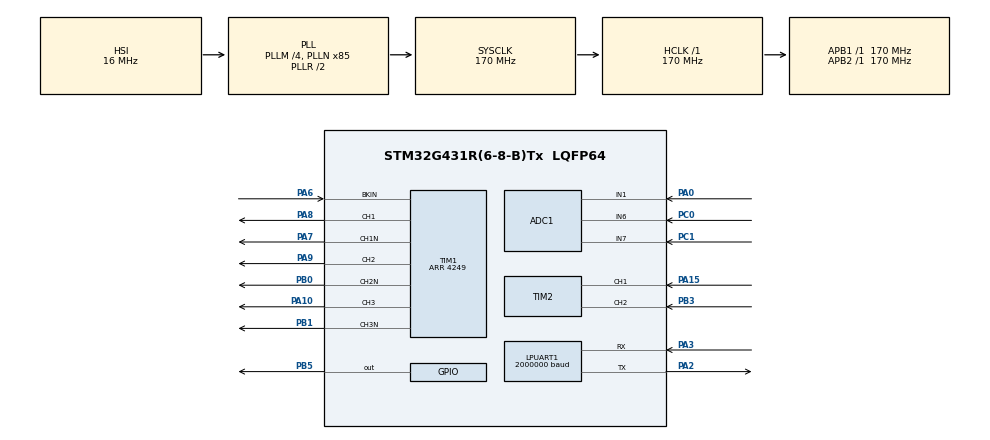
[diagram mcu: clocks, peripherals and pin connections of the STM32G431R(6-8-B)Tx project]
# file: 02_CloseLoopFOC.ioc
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ADC1.Channel-1\#ChannelRegularConversion=ADC_CHANNEL_1
ADC1.Channel-4\#ChannelRegularConversion=ADC_CHANNEL_7
ADC1.Channel-5\#ChannelRegularConversion=ADC_CHANNEL_6
ADC1.EnableInjectedConversion=ENABLE
ADC1.ExternalTrigInjecConv=ADC_EXTERNALTRIGINJEC_T1_TRGO2
ADC1.InjNumberOfConversion=2
ADC1.InjectedChannel-6\#ChannelInjectedConversion=ADC_CHANNEL_1
ADC1.InjectedChannel-7\#ChannelInjectedConversion=ADC_CHANNEL_6
ADC1.InjectedOffsetNumber-6\#ChannelInjectedConversion=ADC_OFFSET_NONE
ADC1.InjectedOffsetNumber-7\#ChannelInjectedConversion=ADC_OFFSET_NONE
ADC1.InjectedRank-6\#ChannelInjectedConversion=1
ADC1.InjectedRank-7\#ChannelInjectedConversion=2
ADC1.InjectedSamplingTime-6\#ChannelInjectedConversion=ADC_SAMPLETIME_47CYCLES_5
ADC1.InjectedSamplingTime-7\#ChannelInjectedConversion=ADC_SAMPLETIME_47CYCLES_5
ADC1.LowPowerAutoWait=ENABLE
ADC1.NbrOfConversion=3
ADC1.NbrOfConversionFlag=1
ADC1.OffsetNumber-1\#ChannelRegularConversion=ADC_OFFSET_NONE
ADC1.OffsetNumber-4\#ChannelRegularConversion=ADC_OFFSET_NONE
ADC1.OffsetNumber-5\#ChannelRegularConversion=ADC_OFFSET_NONE
ADC1.Rank-1\#ChannelRegularConversion=1
ADC1.Rank-4\#ChannelRegularConversion=2
ADC1.Rank-5\#ChannelRegularConversion=3
ADC1.Rank1_Channel=ADC_CHANNEL_1
ADC1.Rank2_Channel=ADC_CHANNEL_6
ADC1.Rank3_Channel=ADC_CHANNEL_6
ADC1.SamplingTime-1\#ChannelRegularConversion=ADC_SAMPLETIME_47CYCLES_5
ADC1.SamplingTime-4\#ChannelRegularConversion=ADC_SAMPLETIME_47CYCLES_5
ADC1.SamplingTime-5\#ChannelRegularConversion=ADC_SAMPLETIME_47CYCLES_5
ADC1.master=1
Dma.LPUART1_TX.0.Direction=DMA_MEMORY_TO_PERIPH
Dma.LPUART1_TX.0.EventEnable=DISABLE
Dma.LPUART1_TX.0.Instance=DMA1_Channel1
Dma.LPUART1_TX.0.MemDataAlignment=DMA_MDATAALIGN_BYTE
Dma.LPUART1_TX.0.MemInc=DMA_MINC_ENABLE
Dma.LPUART1_TX.0.Mode=DMA_NORMAL
Dma.LPUART1_TX.0.PeriphDataAlignment=DMA_PDATAALIGN_BYTE
Dma.LPUART1_TX.0.PeriphInc=DMA_PINC_DISABLE
Dma.LPUART1_TX.0.Polarity=HAL_DMAMUX_REQ_GEN_RISING
Dma.LPUART1_TX.0.Priority=DMA_PRIORITY_LOW
Dma.LPUART1_TX.0.RequestNumber=1
Dma.LPUART1_TX.0.SignalID=NONE
Dma.LPUART1_TX.0.SyncEnable=DISABLE
Dma.LPUART1_TX.0.SyncPolarity=HAL_DMAMUX_SYNC_NO_EVENT
Dma.LPUART1_TX.0.SyncRequestNumber=1
Dma.LPUART1_TX.0.SyncSignalID=NONE
Dma.Request0=LPUART1_TX
LPUART1.BaudRate=2000000
Mcu.Family=STM32G4
Mcu.Name=STM32G431R(6-8-B)Tx
Mcu.Package=LQFP64
NVIC.ADC1_2_IRQn=true\:0\:0\:false\:false\:true\:true\:true\:true
NVIC.DMA1_Channel1_IRQn=true\:0\:0\:false\:false\:true\:false\:true\:true
NVIC.LPUART1_IRQn=true\:0\:0\:false\:false\:true\:true\:true\:true
NVIC.PriorityGroup=NVIC_PRIORITYGROUP_4
NVIC.TIM1_UP_TIM16_IRQn=true\:0\:0\:false\:false\:true\:true\:true\:true
PA0.Mode=IN1-Single-Ended
PA0.Signal=ADC1_IN1
PA10.Signal=S_TIM1_CH3
PA15.Signal=S_TIM2_CH1
PA2.Mode=Asynchronous
PA2.Signal=LPUART1_TX
PA3.Mode=Asynchronous
PA3.Signal=LPUART1_RX
PA6.Mode=Activate-Break-Input
PA6.Signal=TIM1_BKIN
PA7.Mode=PWM Generation1 CH1 CH1N
PA7.Signal=TIM1_CH1N
PA8.Signal=S_TIM1_CH1
PA9.Signal=S_TIM1_CH2
PB0.Mode=PWM Generation2 CH2 CH2N
PB0.Signal=TIM1_CH2N
PB1.Mode=PWM Generation3 CH3 CH3N
PB1.Signal=TIM1_CH3N
PB10.Signal=S_TIM2_CH3
PB3.Signal=S_TIM2_CH2
PB5.Signal=GPIO_Output
PC0.Mode=IN6-Single-Ended
PC0.Signal=ADC1_IN6
PC1.Mode=IN7-Single-Ended
PC1.Signal=ADC1_IN7
ProjectManager.HeapSize=0x200
ProjectManager.StackSize=0x400
ProjectManager.TargetToolchain=STM32CubeIDE
RCC.ADC12Freq_Value=170000000
RCC.AHBFreq_Value=170000000
RCC.APB1Freq_Value=170000000
RCC.APB1TimFreq_Value=170000000
RCC.APB2Freq_Value=170000000
RCC.APB2TimFreq_Value=170000000
RCC.CortexFreq_Value=170000000
RCC.EXTERNAL_CLOCK_VALUE=12288000
RCC.HCLKFreq_Value=170000000
RCC.HSE_VALUE=8000000
RCC.HSI48_VALUE=48000000
RCC.HSI_VALUE=16000000
RCC.LSE_VALUE=32768
RCC.PLLM=RCC_PLLM_DIV4
RCC.PLLN=85
RCC.SYSCLKFreq_VALUE=170000000
RCC.SYSCLKSource=RCC_SYSCLKSOURCE_PLLCLK
RCC.USBFreq_Value=170000000
RCC.VCOOutputFreq_Value=340000000
SH.S_TIM1_CH1.0=TIM1_CH1,PWM Generation1 CH1 CH1N
SH.S_TIM1_CH2.0=TIM1_CH2,PWM Generation2 CH2 CH2N
SH.S_TIM1_CH3.0=TIM1_CH3,PWM Generation3 CH3 CH3N
SH.S_TIM2_CH1.0=TIM2_CH1,Encoder_Interface
SH.S_TIM2_CH2.0=TIM2_CH2,Encoder_Interface
SH.S_TIM2_CH3.0=TIM2_CH3
TIM1.BreakPolarity=TIM_BREAKPOLARITY_LOW
TIM1.Channel-PWM\ Generation1\ CH1\ CH1N=TIM_CHANNEL_1
TIM1.Channel-PWM\ Generation2\ CH2\ CH2N=TIM_CHANNEL_2
TIM1.Channel-PWM\ Generation3\ CH3\ CH3N=TIM_CHANNEL_3
TIM1.Channel-PWM\ Generation4\ No\ Output=TIM_CHANNEL_4
TIM1.CounterMode=TIM_COUNTERMODE_CENTERALIGNED1
TIM1.DeadTime=149
TIM1.OCMode_PWM-PWM\ Generation4\ No\ Output=TIM_OCMODE_PWM2
TIM1.OCNIdleState_1=TIM_OCNIDLESTATE_SET
TIM1.OCNIdleState_2=TIM_OCNIDLESTATE_SET
TIM1.OCNIdleState_3=TIM_OCNIDLESTATE_SET
TIM1.OCNPolarity_1=TIM_OCNPOLARITY_LOW
TIM1.OCNPolarity_2=TIM_OCNPOLARITY_LOW
TIM1.OCNPolarity_3=TIM_OCNPOLARITY_LOW
TIM1.OffStateIDLEMode=TIM_OSSI_ENABLE
TIM1.PeriodNoDither=4249
TIM1.PulseNoDither_1=2125
TIM1.PulseNoDither_2=2125
TIM1.PulseNoDither_3=2125
TIM1.PulseNoDither_4=2125
TIM1.RepetitionCounter=1
TIM1.TIM_MasterOutputTrigger2=TIM_TRGO2_OC4REF
TIM2.EncoderMode=TIM_ENCODERMODE_TI12
VP_SYS_VS_DBSignals.Mode=DisableDeadBatterySignals
VP_TIM1_VS_ClockSourceINT.Mode=Internal
VP_TIM1_VS_no_output4.Mode=PWM Generation4 No Output
board=custom

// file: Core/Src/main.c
/* USER CODE BEGIN Header */
/**
  ******************************************************************************
  * @file           : main.c
  * @brief          : Main program body
  ******************************************************************************
  * @attention
  *
  * Copyright (c) 2026 STMicroelectronics.
  * All rights reserved.
  *
  * This software is licensed under terms that can be found in the LICENSE file
  * in the root directory of this software component.
  * If no LICENSE file comes with this software, it is provided AS-IS.
  *
  ******************************************************************************
  */
/* USER CODE END Header */
#include "main.h"

/* USER CODE BEGIN Includes */

#include <math.h>
#include "vofa.h"

/* USER CODE END Includes */

ADC_HandleTypeDef hadc1;

UART_HandleTypeDef hlpuart1;
DMA_HandleTypeDef hdma_lpuart1_tx;

TIM_HandleTypeDef htim1;
TIM_HandleTypeDef htim2;

/* USER CODE BEGIN PV */

int cnt = 0;
// 开环控制
float theta_e = 0.0f;

const float PI = 3.14159265358979323846f;
const float Ts = 50e-6f;
const float fe = 5.0f;      // 电角频率 5 Hz
float Uq = 0.0f;      // 很小的电压矢量幅值
float Ud = 2.0f;
const float Vbus = 13.0f;

#define ENCODER_CPR 10000
#define MOTOR_POLE_PAIRS 5	// 极对数

// 编码器读取
volatile int32_t encoder_position = 0;	// 编码位置
volatile float theta_mech_deg = 0.0f;	// 机械角度
volatile float theta_mech_rad = 0.0f;	// 机械角度

volatile float theta_elec_rad = 0.0f;	// 电角度
volatile float theta_elec_deg = 0.0f;	// 电角度

// 电流采样零点校准
volatile uint32_t adc_raw = 0;			// ADC原始值
volatile float adc_voltage = 0.0f;		// ADC电压
volatile HAL_StatusTypeDef adc_status;	// ADC状态

volatile uint32_t adc_min = 4095;
volatile uint32_t adc_max = 0;
volatile uint32_t adc_avg = 0;

#define ADC_SAMPLE_COUNT 1000

volatile uint32_t adc_avg_1 = 0;
volatile uint32_t adc_avg_2 = 0;
volatile uint32_t adc_avg_3 = 0;

volatile uint32_t adc_error_count = 0;

#define ADC_VREF       3.3f
#define ADC_FULL_SCALE 4095.0f
#define SHUNT_R        0.010f
#define CURRENT_GAIN   5.18f

volatile uint32_t adc_offset[3] = {0};

volatile float current_1 = 0.0f;
volatile float current_2 = 0.0f;
volatile float current_3 = 0.0f;

// TIM1硬件触发ADC注入组、ADC 注入组三通道同步采样
volatile uint32_t adc_injected_count = 0;		// 注入组累计完成次数
volatile uint32_t adc_injected_freq = 0;		// 每秒完成次数
volatile uint32_t adc_injected_raw[3] = {0};	// ADC 采样值

// 当前PWM周期是否具备有效采样窗口
volatile uint8_t adc_window_valid = 0;

// 方便调试
volatile uint32_t adc_window_ticks = 0;
volatile uint32_t adc_ccr4_value = 0;

volatile float current_phase[3] = {0.0f};
volatile float current_sum = 0.0f;

#define ADC_OFFSET_SAMPLES 1000U

// 注入组偏置
static uint32_t adc_offset_sum[3] = {0};
static uint32_t adc_offset_count = 0;

volatile uint8_t adc_offset_ready = 0;

// 克拉克变换
volatile float Ialpha = 0.0f;
volatile float Ibeta  = 0.0f;

// 当前真实矢量的模长
volatile float Ialpha_beta_magnitude = 0.0f;

// 帕克变换
volatile float Id = 0.0f;
volatile float Iq = 0.0f;
volatile float Idq_magnitude = 0.0f;
volatile float magnitude_error = 0.0f;

// 校准电角度零点
volatile int32_t encoder_align = 0;
volatile float theta_elec_calibrated = 0.0f;
volatile uint8_t encoder_calibrated = 0;

volatile float angle_diff = 0.0f;

//TIM控制模式状态机
typedef enum
{
    FOC_MODE_ALIGN,			// 固定磁场对齐
    FOC_MODE_ENCODER_TEST,	// 编码器角度控制测试
	FOC_MODE_CURRENT_LOOP,	// 电流环模式
	FOC_MODE_SPEED_LOOP,	// 速度环模式
	FOC_MODE_POSITION_LOOP	// 位置环模式
} FOC_Mode_t;

volatile FOC_Mode_t foc_mode = FOC_MODE_ALIGN;

volatile float Uq_test = 0.0f;

typedef struct
{
    float kp;
    float ki;
    float integral;

} PI_Controller;

static PI_Controller pi_d = {0};
static PI_Controller pi_q = {0};
static PI_Controller pi_speed = {0};
static PI_Controller pi_position = {0};

static float Id_ref = 0.0f;
static float Iq_ref = 0.5f;

#define CURRENT_LOOP_TS  0.00005f

static volatile float current_ud_cmd = 0.0f;	// 传递电压指令
static volatile float current_uq_cmd = 0.0f;
static float current_voltage_limit = 3.5f; 		// 实验电压限制

volatile float motor_rpm_raw = 0.0f;
volatile float motor_rpm_filtered = 0.0f;

#define ADC_WAIT_TICKS      340U
#define ADC_SEQUENCE_TICKS  680U
#define ADC_MARGIN_TICKS    100U

float iq_error_avg = 0;

// 速度环
static float speed_ref_rpm = 200.0f;

#define SPEED_LOOP_TS  0.001f
#define SPEED_IQ_LIMIT 0.5f

// 位置环
static float position_ref_deg = 90.0f;

#define POSITION_SPEED_LIMIT 150.0f

/* USER CODE END PV */

void SystemClock_Config(void);
static void MX_GPIO_Init(void);
static void MX_DMA_Init(void);
static void MX_TIM1_Init(void);
static void MX_TIM2_Init(void);
static void MX_ADC1_Init(void);
static void MX_LPUART1_UART_Init(void);
/* USER CODE BEGIN PFP */

void HAL_TIM_PeriodElapsedCallback(TIM_HandleTypeDef *htim);
static void SVPWM(float u_alpha, float u_beta, float vbus);
static void Encoder_UpdateAngle(void);
void HAL_ADCEx_InjectedConvCpltCallback(ADC_HandleTypeDef *hadc);
static void CurrentPI_Update(float id_ref, float iq_ref, float id, float iq, float u_limit, float *ud_out, float *uq_out);
static float SpeedPI_Update(float rpm_ref, float rpm, float iq_limit);
static float PositionP_Update(float target_deg, float current_deg);

/* USER CODE END PFP */

/* USER CODE BEGIN 0 */

static float ADC_ToCurrent(uint32_t raw, uint32_t offset)
{
    // ADC计数差转成电压差
    float delta_v = ((float)raw - (float)offset) * ADC_VREF / ADC_FULL_SCALE;

    // 电压差转成电流
    return delta_v / (CURRENT_GAIN * SHUNT_R) * -1; // 实验测得方向是反的
}

static void Encoder_CalibrateZero(void)
{
	uint32_t primask = __get_PRIMASK();	// 保存原来的中断状态
	__disable_irq();	// 暂时禁止中断，避免ADC回调同时更新编码器

	Encoder_UpdateAngle();				// 读取编码器
    encoder_align = encoder_position;	// 当前转子已对齐到定子参考磁场方向
    encoder_calibrated = 1;				// 校准完成

    // 恢复原来的中断状态
	__set_PRIMASK(primask);
}

static void CurrentPI_Reset(void)
{
    pi_d.integral = 0.0f;
    pi_q.integral = 0.0f;
    pi_speed.integral = 0.0f;
}

/* USER CODE END 0 */

int main(void)
{

  /* MCU Configuration--------------------------------------------------------*/

  /* Reset of all peripherals, Initializes the Flash interface and the Systick. */
  HAL_Init();

  /* Configure the system clock */
  SystemClock_Config();

  /* Initialize all configured peripherals */
  MX_GPIO_Init();
  MX_DMA_Init();
  MX_TIM1_Init();
  MX_TIM2_Init();
  MX_ADC1_Init();
  MX_LPUART1_UART_Init();
  /* USER CODE BEGIN 2 */

  // VOFA+ 监控串口中断优先级
  HAL_NVIC_SetPriority(DMA1_Channel1_IRQn, 6, 0);
  HAL_NVIC_SetPriority(LPUART1_IRQn, 6, 0);

  foc_mode = FOC_MODE_ALIGN;	 // 确保启动时处于固定磁场对齐模式

  HAL_ADCEx_Calibration_Start(&hadc1, ADC_SINGLE_ENDED);	// ADC内部校准

  HAL_ADCEx_InjectedStart_IT(&hadc1);			// 启用ADC注入组中断，等待TIM1硬件触发

  HAL_TIM_PWM_Start(&htim1, TIM_CHANNEL_4);		// 启动TIM1 CH4内部比较

  HAL_TIM_Encoder_Start(&htim2, TIM_CHANNEL_ALL);	// TIM2编码器方波计数使能

  __HAL_TIM_SET_COUNTER(&htim2, 0);

  HAL_Delay(1000);	// 等待ADC注入组采集稳定的偏置电流

  HAL_TIM_PWM_Start(&htim1, TIM_CHANNEL_1);
  HAL_TIMEx_PWMN_Start(&htim1, TIM_CHANNEL_1);

  HAL_TIM_PWM_Start(&htim1, TIM_CHANNEL_2);
  HAL_TIMEx_PWMN_Start(&htim1, TIM_CHANNEL_2);

  HAL_TIM_PWM_Start(&htim1, TIM_CHANNEL_3);
  HAL_TIMEx_PWMN_Start(&htim1, TIM_CHANNEL_3);

  __HAL_TIM_ENABLE_IT(&htim1, TIM_IT_UPDATE);		// TIM1中断使能

  // 固定磁场对齐，等待转子稳定
  HAL_Delay(1000);

  // 记录当前对齐位置
  Encoder_CalibrateZero();

  /* USER CODE END 2 */

  /* Infinite loop */
  /* USER CODE BEGIN WHILE */

  // 初始q轴电压设为0
//  Uq_test = 0.6f;
//  // 切换控制模式
//  foc_mode = FOC_MODE_ENCODER_TEST;

//  HAL_Delay(2000);

  pi_d.kp = 0.1508f;
  pi_d.ki = 314.2f;

  pi_q.kp = 0.1508f;
  pi_q.ki = 314.2f;

  pi_speed.kp = 0.008f;
  pi_speed.ki = 0.08f;

  pi_position.kp = 2.0f;

  CurrentPI_Reset();

  current_ud_cmd = 0.0f;
  current_uq_cmd = 0.0f;

  Id_ref = 0.0f;
  Iq_ref = 0.0f;

  // 最后才允许进入电流闭环
//  foc_mode = FOC_MODE_CURRENT_LOOP;
//  foc_mode = FOC_MODE_SPEED_LOOP;
  foc_mode = FOC_MODE_POSITION_LOOP;

  // 开启 DWT 周期计数器
  CoreDebug->DEMCR |= CoreDebug_DEMCR_TRCENA_Msk;
  DWT->CYCCNT = 0;
  DWT->CTRL |= DWT_CTRL_CYCCNTENA_Msk;
  // 记录上次发送时间
  uint32_t last_vofa_cycle = DWT->CYCCNT;
  // 目标发送频率：4000Hz
  uint32_t vofa_period_cycles = SystemCoreClock / 4000U;

  uint32_t last_iq_cycle = DWT->CYCCNT;
  uint32_t iq_period_cycles = SystemCoreClock * 2U;

  while (1)
  {
    /* USER CODE END WHILE */

    /* USER CODE BEGIN 3 */

	uint32_t now_cycle = DWT->CYCCNT;

	if ((uint32_t)(now_cycle - last_vofa_cycle) >= vofa_period_cycles)
	{
	  last_vofa_cycle = now_cycle;

	  if (adc_offset_ready && encoder_calibrated)
	  {
		  float monitor_data[8];

		  monitor_data[0] = position_ref_deg;

		  monitor_data[1] = theta_mech_deg;

		  monitor_data[2] = motor_rpm_filtered;

		  monitor_data[3] = speed_ref_rpm;

		  monitor_data[4] = Iq_ref;

		  // Park变换
		  monitor_data[5] = adc_window_valid;

		  monitor_data[6] = Iq;

		  monitor_data[7] = current_uq_cmd;

		  VOFA_Send8(monitor_data);
	  }
	}

	if ((uint32_t)(now_cycle - last_iq_cycle) >= iq_period_cycles)
	{
	    last_iq_cycle += iq_period_cycles;

	    position_ref_deg += 70.0;
	    if (position_ref_deg > 360.0f)
	    {
	    	position_ref_deg -= 360.0f;
	    }

//	    float target = 10.0f;
//
//	    if (position_ref_deg == target)
//	    {
//	    	position_ref_deg = 350.0f;
//	    }
//	    else
//	    {
//	    	position_ref_deg = target;
//	    }
	}

  }
  /* USER CODE END 3 */
}

void SystemClock_Config(void)
{
  RCC_OscInitTypeDef RCC_OscInitStruct = {0};
  RCC_ClkInitTypeDef RCC_ClkInitStruct = {0};

  /** Configure the main internal regulator output voltage
  */
  HAL_PWREx_ControlVoltageScaling(PWR_REGULATOR_VOLTAGE_SCALE1_BOOST);

  /** Initializes the RCC Oscillators according to the specified parameters
  * in the RCC_OscInitTypeDef structure.
  */
  RCC_OscInitStruct.OscillatorType = RCC_OSCILLATORTYPE_HSI;
  RCC_OscInitStruct.HSIState = RCC_HSI_ON;
  RCC_OscInitStruct.HSICalibrationValue = RCC_HSICALIBRATION_DEFAULT;
  RCC_OscInitStruct.PLL.PLLState = RCC_PLL_ON;
  RCC_OscInitStruct.PLL.PLLSource = RCC_PLLSOURCE_HSI;
  RCC_OscInitStruct.PLL.PLLM = RCC_PLLM_DIV4;
  RCC_OscInitStruct.PLL.PLLN = 85;
  RCC_OscInitStruct.PLL.PLLP = RCC_PLLP_DIV2;
  RCC_OscInitStruct.PLL.PLLQ = RCC_PLLQ_DIV2;
  RCC_OscInitStruct.PLL.PLLR = RCC_PLLR_DIV2;
  if (HAL_RCC_OscConfig(&RCC_OscInitStruct) != HAL_OK)
  {
    Error_Handler();
  }

  /** Initializes the CPU, AHB and APB buses clocks
  */
  RCC_ClkInitStruct.ClockType = RCC_CLOCKTYPE_HCLK|RCC_CLOCKTYPE_SYSCLK
                              |RCC_CLOCKTYPE_PCLK1|RCC_CLOCKTYPE_PCLK2;
  RCC_ClkInitStruct.SYSCLKSource = RCC_SYSCLKSOURCE_PLLCLK;
  RCC_ClkInitStruct.AHBCLKDivider = RCC_SYSCLK_DIV1;
  RCC_ClkInitStruct.APB1CLKDivider = RCC_HCLK_DIV1;
  RCC_ClkInitStruct.APB2CLKDivider = RCC_HCLK_DIV1;

  if (HAL_RCC_ClockConfig(&RCC_ClkInitStruct, FLASH_LATENCY_4) != HAL_OK)
  {
    Error_Handler();
  }
}

static void MX_ADC1_Init(void)
{

  ADC_MultiModeTypeDef multimode = {0};
  ADC_ChannelConfTypeDef sConfig = {0};
  ADC_InjectionConfTypeDef sConfigInjected = {0};

  /** Common config
  */
  hadc1.Instance = ADC1;
  hadc1.Init.ClockPrescaler = ADC_CLOCK_SYNC_PCLK_DIV4;
  hadc1.Init.Resolution = ADC_RESOLUTION_12B;
  hadc1.Init.DataAlign = ADC_DATAALIGN_RIGHT;
  hadc1.Init.GainCompensation = 0;
  hadc1.Init.ScanConvMode = ADC_SCAN_ENABLE;
  hadc1.Init.EOCSelection = ADC_EOC_SINGLE_CONV;
  hadc1.Init.LowPowerAutoWait = ENABLE;
  hadc1.Init.ContinuousConvMode = DISABLE;
  hadc1.Init.NbrOfConversion = 3;
  hadc1.Init.DiscontinuousConvMode = DISABLE;
  hadc1.Init.ExternalTrigConv = ADC_SOFTWARE_START;
  hadc1.Init.ExternalTrigConvEdge = ADC_EXTERNALTRIGCONVEDGE_NONE;
  hadc1.Init.DMAContinuousRequests = DISABLE;
  hadc1.Init.Overrun = ADC_OVR_DATA_PRESERVED;
  hadc1.Init.OversamplingMode = DISABLE;
  if (HAL_ADC_Init(&hadc1) != HAL_OK)
  {
    Error_Handler();
  }

  /** Configure the ADC multi-mode
  */
  multimode.Mode = ADC_MODE_INDEPENDENT;
  if (HAL_ADCEx_MultiModeConfigChannel(&hadc1, &multimode) != HAL_OK)
  {
    Error_Handler();
  }

  /** Configure Regular Channel
  */
  sConfig.Channel = ADC_CHANNEL_1;
  sConfig.Rank = ADC_REGULAR_RANK_1;
  sConfig.SamplingTime = ADC_SAMPLETIME_47CYCLES_5;
  sConfig.SingleDiff = ADC_SINGLE_ENDED;
  sConfig.OffsetNumber = ADC_OFFSET_NONE;
  sConfig.Offset = 0;
  if (HAL_ADC_ConfigChannel(&hadc1, &sConfig) != HAL_OK)
  {
    Error_Handler();
  }

  /** Configure Regular Channel
  */
  sConfig.Channel = ADC_CHANNEL_7;
  sConfig.Rank = ADC_REGULAR_RANK_2;
  if (HAL_ADC_ConfigChannel(&hadc1, &sConfig) != HAL_OK)
  {
    Error_Handler();
  }

  /** Configure Regular Channel
  */
  sConfig.Channel = ADC_CHANNEL_6;
  sConfig.Rank = ADC_REGULAR_RANK_3;
  if (HAL_ADC_ConfigChannel(&hadc1, &sConfig) != HAL_OK)
  {
    Error_Handler();
  }

  /** Configure Injected Channel
  */
  sConfigInjected.InjectedChannel = ADC_CHANNEL_1;
  sConfigInjected.InjectedRank = ADC_INJECTED_RANK_1;
  sConfigInjected.InjectedSamplingTime = ADC_SAMPLETIME_47CYCLES_5;
  sConfigInjected.InjectedSingleDiff = ADC_SINGLE_ENDED;
  sConfigInjected.InjectedOffsetNumber = ADC_OFFSET_NONE;
  sConfigInjected.InjectedOffset = 0;
  sConfigInjected.InjectedNbrOfConversion = 2;
  sConfigInjected.InjectedDiscontinuousConvMode = DISABLE;
  sConfigInjected.AutoInjectedConv = DISABLE;
  sConfigInjected.QueueInjectedContext = DISABLE;
  sConfigInjected.ExternalTrigInjecConv = ADC_EXTERNALTRIGINJEC_T1_TRGO2;
  sConfigInjected.ExternalTrigInjecConvEdge = ADC_EXTERNALTRIGINJECCONV_EDGE_RISING;
  sConfigInjected.InjecOversamplingMode = DISABLE;
  if (HAL_ADCEx_InjectedConfigChannel(&hadc1, &sConfigInjected) != HAL_OK)
  {
    Error_Handler();
  }

  /** Configure Injected Channel
  */
  sConfigInjected.InjectedChannel = ADC_CHANNEL_6;
  sConfigInjected.InjectedRank = ADC_INJECTED_RANK_2;
  if (HAL_ADCEx_InjectedConfigChannel(&hadc1, &sConfigInjected) != HAL_OK)
  {
    Error_Handler();
  }

}

static void MX_LPUART1_UART_Init(void)
{

  hlpuart1.Instance = LPUART1;
  hlpuart1.Init.BaudRate = 2000000;
  hlpuart1.Init.WordLength = UART_WORDLENGTH_8B;
  hlpuart1.Init.StopBits = UART_STOPBITS_1;
  hlpuart1.Init.Parity = UART_PARITY_NONE;
  hlpuart1.Init.Mode = UART_MODE_TX_RX;
  hlpuart1.Init.HwFlowCtl = UART_HWCONTROL_NONE;
  hlpuart1.Init.OneBitSampling = UART_ONE_BIT_SAMPLE_DISABLE;
  hlpuart1.Init.ClockPrescaler = UART_PRESCALER_DIV1;
  hlpuart1.AdvancedInit.AdvFeatureInit = UART_ADVFEATURE_NO_INIT;
  if (HAL_UART_Init(&hlpuart1) != HAL_OK)
  {
    Error_Handler();
  }
  if (HAL_UARTEx_SetTxFifoThreshold(&hlpuart1, UART_TXFIFO_THRESHOLD_1_8) != HAL_OK)
  {
    Error_Handler();
  }
  if (HAL_UARTEx_SetRxFifoThreshold(&hlpuart1, UART_RXFIFO_THRESHOLD_1_8) != HAL_OK)
  {
    Error_Handler();
  }
  if (HAL_UARTEx_DisableFifoMode(&hlpuart1) != HAL_OK)
  {
    Error_Handler();
  }

}

static void MX_TIM1_Init(void)
{

  TIM_ClockConfigTypeDef sClockSourceConfig = {0};
  TIM_MasterConfigTypeDef sMasterConfig = {0};
  TIMEx_BreakInputConfigTypeDef sBreakInputConfig = {0};
  TIM_OC_InitTypeDef sConfigOC = {0};
  TIM_BreakDeadTimeConfigTypeDef sBreakDeadTimeConfig = {0};

  htim1.Instance = TIM1;
  htim1.Init.Prescaler = 0;
  htim1.Init.CounterMode = TIM_COUNTERMODE_CENTERALIGNED1;
  htim1.Init.Period = 4249;
  htim1.Init.ClockDivision = TIM_CLOCKDIVISION_DIV1;
  htim1.Init.RepetitionCounter = 1;
  htim1.Init.AutoReloadPreload = TIM_AUTORELOAD_PRELOAD_DISABLE;
  if (HAL_TIM_Base_Init(&htim1) != HAL_OK)
  {
    Error_Handler();
  }
  sClockSourceConfig.ClockSource = TIM_CLOCKSOURCE_INTERNAL;
  if (HAL_TIM_ConfigClockSource(&htim1, &sClockSourceConfig) != HAL_OK)
  {
    Error_Handler();
  }
  if (HAL_TIM_PWM_Init(&htim1) != HAL_OK)
  {
    Error_Handler();
  }
  sMasterConfig.MasterOutputTrigger = TIM_TRGO_RESET;
  sMasterConfig.MasterOutputTrigger2 = TIM_TRGO2_OC4REF;
  sMasterConfig.MasterSlaveMode = TIM_MASTERSLAVEMODE_DISABLE;
  if (HAL_TIMEx_MasterConfigSynchronization(&htim1, &sMasterConfig) != HAL_OK)
  {
    Error_Handler();
  }
  sBreakInputConfig.Source = TIM_BREAKINPUTSOURCE_BKIN;
  sBreakInputConfig.Enable = TIM_BREAKINPUTSOURCE_ENABLE;
  sBreakInputConfig.Polarity = TIM_BREAKINPUTSOURCE_POLARITY_HIGH;
  if (HAL_TIMEx_ConfigBreakInput(&htim1, TIM_BREAKINPUT_BRK, &sBreakInputConfig) != HAL_OK)
  {
    Error_Handler();
  }
  sConfigOC.OCMode = TIM_OCMODE_PWM1;
  sConfigOC.Pulse = 2125;
  sConfigOC.OCPolarity = TIM_OCPOLARITY_HIGH;
  sConfigOC.OCNPolarity = TIM_OCNPOLARITY_LOW;
  sConfigOC.OCFastMode = TIM_OCFAST_DISABLE;
  sConfigOC.OCIdleState = TIM_OCIDLESTATE_RESET;
  sConfigOC.OCNIdleState = TIM_OCNIDLESTATE_SET;
  if (HAL_TIM_PWM_ConfigChannel(&htim1, &sConfigOC, TIM_CHANNEL_1) != HAL_OK)
  {
    Error_Handler();
  }
  if (HAL_TIM_PWM_ConfigChannel(&htim1, &sConfigOC, TIM_CHANNEL_2) != HAL_OK)
  {
    Error_Handler();
  }
  if (HAL_TIM_PWM_ConfigChannel(&htim1, &sConfigOC, TIM_CHANNEL_3) != HAL_OK)
  {
    Error_Handler();
  }
  sConfigOC.OCMode = TIM_OCMODE_PWM2;
  sConfigOC.OCNPolarity = TIM_OCNPOLARITY_HIGH;
  sConfigOC.OCNIdleState = TIM_OCNIDLESTATE_RESET;
  if (HAL_TIM_PWM_ConfigChannel(&htim1, &sConfigOC, TIM_CHANNEL_4) != HAL_OK)
  {
    Error_Handler();
  }
  sBreakDeadTimeConfig.OffStateRunMode = TIM_OSSR_DISABLE;
  sBreakDeadTimeConfig.OffStateIDLEMode = TIM_OSSI_ENABLE;
  sBreakDeadTimeConfig.LockLevel = TIM_LOCKLEVEL_OFF;
  sBreakDeadTimeConfig.DeadTime = 149;
  sBreakDeadTimeConfig.BreakState = TIM_BREAK_ENABLE;
  sBreakDeadTimeConfig.BreakPolarity = TIM_BREAKPOLARITY_LOW;
  sBreakDeadTimeConfig.BreakFilter = 0;
  sBreakDeadTimeConfig.BreakAFMode = TIM_BREAK_AFMODE_INPUT;
  sBreakDeadTimeConfig.Break2State = TIM_BREAK2_DISABLE;
  sBreakDeadTimeConfig.Break2Polarity = TIM_BREAK2POLARITY_HIGH;
  sBreakDeadTimeConfig.Break2Filter = 0;
  sBreakDeadTimeConfig.Break2AFMode = TIM_BREAK_AFMODE_INPUT;
  sBreakDeadTimeConfig.AutomaticOutput = TIM_AUTOMATICOUTPUT_DISABLE;
  if (HAL_TIMEx_ConfigBreakDeadTime(&htim1, &sBreakDeadTimeConfig) != HAL_OK)
  {
    Error_Handler();
  }
  HAL_TIM_MspPostInit(&htim1);

}

static void MX_TIM2_Init(void)
{

  TIM_Encoder_InitTypeDef sConfig = {0};
  TIM_MasterConfigTypeDef sMasterConfig = {0};

  htim2.Instance = TIM2;
  htim2.Init.Prescaler = 0;
  htim2.Init.CounterMode = TIM_COUNTERMODE_UP;
  htim2.Init.Period = 4294967295;
  htim2.Init.ClockDivision = TIM_CLOCKDIVISION_DIV1;
  htim2.Init.AutoReloadPreload = TIM_AUTORELOAD_PRELOAD_DISABLE;
  sConfig.EncoderMode = TIM_ENCODERMODE_TI12;
  sConfig.IC1Polarity = TIM_ICPOLARITY_RISING;
  sConfig.IC1Selection = TIM_ICSELECTION_DIRECTTI;
  sConfig.IC1Prescaler = TIM_ICPSC_DIV1;
  sConfig.IC1Filter = 0;
  sConfig.IC2Polarity = TIM_ICPOLARITY_RISING;
  sConfig.IC2Selection = TIM_ICSELECTION_DIRECTTI;
  sConfig.IC2Prescaler = TIM_ICPSC_DIV1;
  sConfig.IC2Filter = 0;
  if (HAL_TIM_Encoder_Init(&htim2, &sConfig) != HAL_OK)
  {
    Error_Handler();
  }
  sMasterConfig.MasterOutputTrigger = TIM_TRGO_RESET;
  sMasterConfig.MasterSlaveMode = TIM_MASTERSLAVEMODE_DISABLE;
  if (HAL_TIMEx_MasterConfigSynchronization(&htim2, &sMasterConfig) != HAL_OK)
  {
    Error_Handler();
  }

}

static void MX_DMA_Init(void)
{

  /* DMA controller clock enable */
  __HAL_RCC_DMAMUX1_CLK_ENABLE();
  __HAL_RCC_DMA1_CLK_ENABLE();

  /* DMA interrupt init */
  /* DMA1_Channel1_IRQn interrupt configuration */
  HAL_NVIC_SetPriority(DMA1_Channel1_IRQn, 0, 0);
  HAL_NVIC_EnableIRQ(DMA1_Channel1_IRQn);

}

static void MX_GPIO_Init(void)
{
  GPIO_InitTypeDef GPIO_InitStruct = {0};

  /* GPIO Ports Clock Enable */
  __HAL_RCC_GPIOC_CLK_ENABLE();
  __HAL_RCC_GPIOA_CLK_ENABLE();
  __HAL_RCC_GPIOB_CLK_ENABLE();

  /*Configure GPIO pin Output Level */
  HAL_GPIO_WritePin(GPIOB, GPIO_PIN_5, GPIO_PIN_RESET);

  /*Configure GPIO pin : PB5 */
  GPIO_InitStruct.Pin = GPIO_PIN_5;
  GPIO_InitStruct.Mode = GPIO_MODE_OUTPUT_PP;
  GPIO_InitStruct.Pull = GPIO_NOPULL;
  GPIO_InitStruct.Speed = GPIO_SPEED_FREQ_LOW;
  HAL_GPIO_Init(GPIOB, &GPIO_InitStruct);

}

/* USER CODE BEGIN 4 */

static float PositionP_Update(float target_deg, float current_deg)
{
    float error = target_deg - current_deg;

    // 单圈最短路径
    if (error > 180.0f)
        error -= 360.0f;
    else if (error < -180.0f)
        error += 360.0f;

    float rpm = pi_position.kp * error;

    // 目标转速限幅
    if (rpm > POSITION_SPEED_LIMIT)
        rpm = POSITION_SPEED_LIMIT;
    else if (rpm < -POSITION_SPEED_LIMIT)
        rpm = -POSITION_SPEED_LIMIT;

    return rpm;
}

static float SpeedPI_Update(float rpm_ref, float rpm, float iq_limit)
{
    const float ts = 0.001f;

    float error = rpm_ref - rpm;

    float base = pi_speed.kp * error + pi_speed.ki * pi_speed.integral;

    float di = pi_speed.ki * error * ts;

    float candidate = base + di;

    // 条件积分抗饱和
    if (fabsf(candidate) <= iq_limit || candidate * di <= 0.0f)
    {
        pi_speed.integral += error * ts;
        base = candidate;
    }

    // 输出限幅
    if (base > iq_limit) base = iq_limit;
    if (base < -iq_limit) base = -iq_limit;

    return base;
}

static void CurrentPI_Update(float id_ref, float iq_ref, float id, float iq, float u_limit, float *ud_out, float *uq_out)
{
    const float ts = CURRENT_LOOP_TS;

    float ed = id_ref - id;
    float eq = iq_ref - iq;

    // 当前比例输出和积分贡献
    float ud_base = pi_d.kp * ed + pi_d.ki * pi_d.integral;
    float uq_base = pi_q.kp * eq + pi_q.ki * pi_q.integral;

    // 本次积分对输出电压的增量
    float dud_i = pi_d.ki * ed * ts;
    float duq_i = pi_q.ki * eq * ts;

    // 候选电压
    float ud_candidate = ud_base + dud_i;
    float uq_candidate = uq_base + duq_i;

    float limit2 = u_limit * u_limit;

    float candidate2 = ud_candidate * ud_candidate + uq_candidate * uq_candidate;

    // 积分增量与候选电压的点积
    float outward = ud_candidate * dud_i + uq_candidate * duq_i;

    // 饱和时，拒绝继续向外推动电压矢量的积分
    if (candidate2 <= limit2 || outward <= 0.0f)
    {
        pi_d.integral += ed * ts;
        pi_q.integral += eq * ts;

        ud_base = ud_candidate;
        uq_base = uq_candidate;
    }

    // 对最终电压矢量进行同比例限幅
    float mag2 = ud_base * ud_base + uq_base * uq_base;

    if (mag2 > limit2)
    {
        float scale = u_limit / sqrtf(mag2);
        ud_base *= scale;
        uq_base *= scale;
    }

    *ud_out = ud_base;
    *uq_out = uq_base;
}

void HAL_ADCEx_InjectedConvCpltCallback(ADC_HandleTypeDef *hadc)
{
    if (hadc->Instance == ADC1)
    {
    	adc_injected_raw[0] = HAL_ADCEx_InjectedGetValue(hadc, ADC_INJECTED_RANK_1);	// U
    	adc_injected_raw[1] = HAL_ADCEx_InjectedGetValue(hadc, ADC_INJECTED_RANK_2);	// W

		adc_injected_count++;

		// 2. 零电流偏置校准
		if (!adc_offset_ready)
		{
			for (uint32_t i = 0; i < 2; i++)
			{
				adc_offset_sum[i] += adc_injected_raw[i];
			}

			adc_offset_count++;

			if (adc_offset_count >= ADC_OFFSET_SAMPLES)
			{
				for (uint32_t i = 0; i < 2; i++)
				{
					adc_offset[i] = adc_offset_sum[i] / ADC_OFFSET_SAMPLES;
				}

				adc_offset_ready = 1;
			}

			return;
		}

		current_phase[0] = ADC_ToCurrent(adc_injected_raw[0], adc_offset[0]);
		current_phase[2] = ADC_ToCurrent(adc_injected_raw[1], adc_offset[1]);
		current_phase[1] = - current_phase[0] - current_phase[2];

		// Clarke变换：三相静止坐标系 → 两相静止坐标系
		Ialpha = current_phase[0];
		Ibeta = (current_phase[0] + 2.0f * current_phase[1]) * 0.577350269f;

		// 没有完成编码器校准之前，不计算转子坐标系电流
		if (!encoder_calibrated)
		    return;

		// 更新当前编码器角度
		Encoder_UpdateAngle();

		// Park变换：αβ静止坐标系 → dq旋转坐标系
		float angle = theta_elec_calibrated;  // 暂时使用开环电角度 -> 使用校准后的电角度

		float sin_t = sinf(angle);
		float cos_t = cosf(angle);

		float id = Ialpha * cos_t + Ibeta * sin_t;
		float iq = -Ialpha * sin_t + Ibeta * cos_t;

		Id = id;
		Iq = iq;

		float iq_error = Iq_ref - Iq;
		iq_error_avg += 0.001f * (iq_error - iq_error_avg); // 一阶低通，滤除瞬时电流采样噪声

		if (foc_mode == FOC_MODE_CURRENT_LOOP || foc_mode == FOC_MODE_SPEED_LOOP || foc_mode == FOC_MODE_POSITION_LOOP)
		{
			float ud_new, uq_new;

			CurrentPI_Update(Id_ref, Iq_ref, Id, Iq, current_voltage_limit, &ud_new, &uq_new);

			current_ud_cmd = ud_new;
			current_uq_cmd = uq_new;
		}
    }
}

static void Encoder_UpdateAngle(void)
{
    static uint32_t last_cnt = 0;

    uint32_t now_cnt = TIM2->CNT;

    // 计算计数增量，处理32位计数器回绕
    int32_t delta = (int32_t)(now_cnt - last_cnt);

    last_cnt = now_cnt;

    // 软件位置限制在单圈范围 [0, 9999]
    int32_t pos = encoder_position + delta;
    pos %= ENCODER_CPR;

    if (pos < 0)
        pos += ENCODER_CPR;

    encoder_position = pos;

    // 转换成机械角度
    theta_mech_deg = pos * (360.0f / ENCODER_CPR);
//    theta_mech_rad = pos * (2.0f * PI / ENCODER_CPR);

    // 零点校准
    if (encoder_calibrated)
    {
        int32_t delta_pos = encoder_position - encoder_align;

        float angle = delta_pos * (2.0f * PI * MOTOR_POLE_PAIRS / ENCODER_CPR);

        theta_elec_calibrated = fmodf(angle, 2.0f * PI);

        if (theta_elec_calibrated < 0.0f)
        {
            theta_elec_calibrated += 2.0f * PI;
        }
    }
}

void HAL_TIM_PeriodElapsedCallback(TIM_HandleTypeDef *htim)
{
    if (htim->Instance == TIM1)
    {
    	float angle;
		float ud;
		float uq;

		if (foc_mode == FOC_MODE_ALIGN)
		{
			// 阶段1：固定磁场对齐
			angle = 0.0f;
			ud = 2.0f;   // 使用此前验证过的较低对齐电压
			uq = 0.0f;
		}
		else if (foc_mode == FOC_MODE_ENCODER_TEST)
		{
			// 阶段2：编码器反馈角度
			if (!encoder_calibrated)
				return;

			angle = theta_elec_calibrated;

			ud = 0.0f;
			uq = Uq_test;
		}
		else if (foc_mode == FOC_MODE_CURRENT_LOOP || foc_mode == FOC_MODE_SPEED_LOOP || foc_mode == FOC_MODE_POSITION_LOOP)
		{
		    angle = theta_elec_calibrated;

		    ud = current_ud_cmd;
		    uq = current_uq_cmd;
		}

		float sin_t = sinf(angle);
		float cos_t = cosf(angle);

		// 逆Park变换
		float Ualpha = ud * cos_t - uq * sin_t;
		float Ubeta  = ud * sin_t + uq * cos_t;

		SVPWM(Ualpha, Ubeta, Vbus);

		static uint8_t speed_divider = 0;
		static uint32_t speed_last_cnt = 0;

		// 速度环：1KHz
		if (++speed_divider >= 20)
		{
			speed_divider = 0;

			uint32_t speed_now_cnt = TIM2->CNT;
			int32_t delta = (int32_t)(speed_now_cnt - speed_last_cnt);

			speed_last_cnt = speed_now_cnt;

			// 1ms测速窗口
			motor_rpm_raw = delta * 6.0f;

			// 一阶低通滤波
			motor_rpm_filtered += 0.2f * (motor_rpm_raw - motor_rpm_filtered);

			static uint8_t position_divider = 0;

			// 位置环：200Hz
			if (foc_mode == FOC_MODE_POSITION_LOOP)
			{
			    if (++position_divider >= 5)
			    {
			        position_divider = 0;

			        speed_ref_rpm = PositionP_Update(position_ref_deg, theta_mech_deg);
			    }
			}

			if (foc_mode == FOC_MODE_SPEED_LOOP || foc_mode == FOC_MODE_POSITION_LOOP)
			{
				Iq_ref = SpeedPI_Update(speed_ref_rpm, motor_rpm_filtered, 4.0f);
			}
		}
    }
}

static void SVPWM(float u_alpha, float u_beta, float vbus)
{
    /* 1. αβ → 三相参考电压 */
    float ua = u_alpha;
    float ub = -0.5f * u_alpha + 0.8660254f * u_beta;
    float uc = -0.5f * u_alpha - 0.8660254f * u_beta;

    /* 2. 找三相最大值和最小值 */
    float u_max = ua;
    float u_min = ua;

    if (ub > u_max) u_max = ub;
    if (uc > u_max) u_max = uc;

    if (ub < u_min) u_min = ub;
    if (uc < u_min) u_min = uc;

    /* 3. 注入公共偏置 */
    float u_offset = -0.5f * (u_max + u_min);

    ua += u_offset;
    ub += u_offset;
    uc += u_offset;

    /* 4. 电压 → 占空比 */
    float duty_a = 0.5f + ua / vbus;
    float duty_b = 0.5f + ub / vbus;
    float duty_c = 0.5f + uc / vbus;

    /* 5. 防止异常参数导致占空比越界 */
    if (duty_a > 1.0f) duty_a = 1.0f;
    if (duty_a < 0.0f) duty_a = 0.0f;

    if (duty_b > 1.0f) duty_b = 1.0f;
    if (duty_b < 0.0f) duty_b = 0.0f;

    if (duty_c > 1.0f) duty_c = 1.0f;
    if (duty_c < 0.0f) duty_c = 0.0f;

    /* 6. 占空比 → TIM1 CCR */
    uint32_t arr = __HAL_TIM_GET_AUTORELOAD(&htim1);

    uint32_t ccr1 = (uint32_t)(duty_a * (arr + 1.0f));
    uint32_t ccr2 = (uint32_t)(duty_b * (arr + 1.0f));
    uint32_t ccr3 = (uint32_t)(duty_c * (arr + 1.0f));

    // 避免比较值超过ARR
    if (ccr1 > arr) ccr1 = arr;
    if (ccr2 > arr) ccr2 = arr;
    if (ccr3 > arr) ccr3 = arr;

    /* 8. 双电阻采样：只考虑U、W两相 */

    uint32_t ccr_max = (ccr1 > ccr3) ? ccr1 : ccr3;

    adc_window_ticks = arr - ccr_max;
    /* 9. 判断窗口 */
    if (adc_window_ticks >= ADC_WAIT_TICKS + ADC_SEQUENCE_TICKS)
    {
    	adc_window_valid = 1;
    }
    else
    {
    	adc_window_valid = 0;
    	TIM1->EGR = TIM_EGR_BG;
    	return;
    }

    /* 10. 计算采样位置 */
    uint32_t ccr4 = ccr_max + ADC_WAIT_TICKS;

    /* 11. 更新CCR */
    __HAL_TIM_SET_COMPARE(&htim1, TIM_CHANNEL_1, ccr1);
    __HAL_TIM_SET_COMPARE(&htim1, TIM_CHANNEL_2, ccr2);
    __HAL_TIM_SET_COMPARE(&htim1, TIM_CHANNEL_3, ccr3);
    __HAL_TIM_SET_COMPARE(&htim1, TIM_CHANNEL_4, ccr4);
}

/* USER CODE END 4 */

void Error_Handler(void)
{
  __disable_irq();
  while (1)
  {
  }
}
